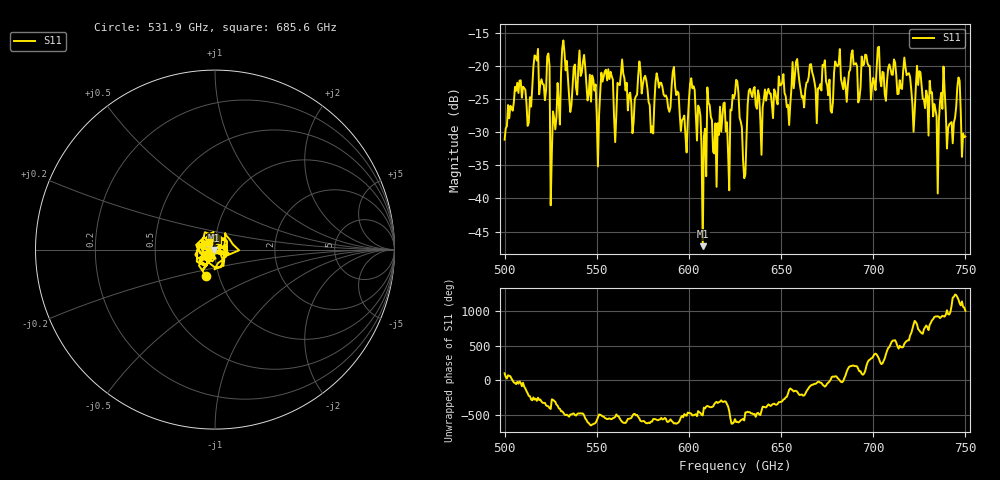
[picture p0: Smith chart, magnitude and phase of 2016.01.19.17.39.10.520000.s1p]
!Created with skrf (http://scikit-rf.org).
# GHz S RI R 50.0
!freq ReS11 ImS11
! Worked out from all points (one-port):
!   401 points, 500 GHz to 750 GHz, reference 50 ohm
!   lowest |S11| = -47.2 dB at 607.5 GHz (marker M1), VSWR 1.01, Z = 49.6 - j0.23 ohm
!   |S11| at or under -10 dB: start of sweep to end of sweep
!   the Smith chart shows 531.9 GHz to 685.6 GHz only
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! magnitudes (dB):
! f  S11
! 500 GHz  -31.1
! 507.5 GHz  -24.1
! 513.1 GHz  -28.6
! 516.9 GHz  -18.6
! 523.1 GHz  -18.5
! 526.2 GHz  -26.9
! 531.2 GHz  -17.3
! 550.6 GHz  -35.2
! 562.5 GHz  -22.9
! 579.4 GHz  -30.0
! 583.1 GHz  -22.0
! 593.8 GHz  -23.8
! 598.1 GHz  -30.5
! 601.9 GHz  -23.4
! 607.5 GHz  -47.2
! 611.2 GHz  -25.9
! 613.8 GHz  -33.2
! 618.1 GHz  -27.8
! 621.2 GHz  -33.1
! 625 GHz  -24.2
! 630 GHz  -37.0
! 633.8 GHz  -24.1
! 656.2 GHz  -19.4
! 687.5 GHz  -20.5
! 718.8 GHz  -21.2
! 734.4 GHz  -27.6
! 746.2 GHz  -21.7
! 750 GHz  -30.7
